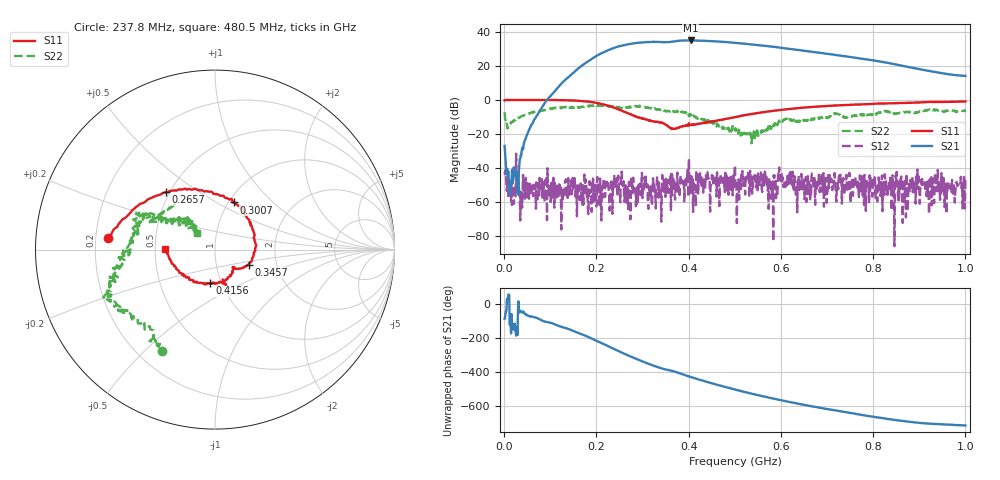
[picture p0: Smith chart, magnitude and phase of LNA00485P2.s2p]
! Created with skrf 1.9.0 (http://scikit-rf.org).
# Hz S RI R 50.0
!freq ReS11 ImS11 ReS21 ImS21 ReS12 ImS12 ReS22 ImS22
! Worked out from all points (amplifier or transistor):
!   1001 points, 1 MHz to 1 GHz, reference 50 ohm
!   highest |S21| = 35.0 dB at 404.6 MHz (marker M1)
!   |S21| within 3 dB of that: 255.7 MHz to 560.5 MHz (304.8 MHz wide, 74.7 % of centre)
!   unconditionally stable (mu >= 1): 222 MHz to 238.5 MHz; 247.9 MHz to 400.3 MHz; 401 MHz to end of sweep (the widest 3 of 44)
!   at 166.8 MHz: K = 0.89, MSG = 35.3 dB, |S12| = -50.8 dB
!   at 500.5 MHz: K = 1.09, MAG = 34.2 dB, |S12| = -38.4 dB
!   at 1 GHz: K = 3.25, MAG = 22.5 dB, |S12| = -46.9 dB
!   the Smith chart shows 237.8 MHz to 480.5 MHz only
!   S11 on the Smith chart (normalised r, x): 237.8 MHz: 0.25, +0.05; 265.7 MHz: 0.48, +0.37; 300.7 MHz: 1.06, +0.61; 345.7 MHz: 1.43, -0.25; 415.6 MHz: 0.88, -0.34; 480.5 MHz: 0.56, +0.01
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1000000  0.9769 0.00773  0.0026 -0.0445  -0.00769 -0.00069  0.313 0.3076
1.08892e8  0.531 -0.8446  -0.8313 -1.551  0.000469 -0.000485  0.4341 -0.3701
1.67833e8  -0.2189 -0.9041  -10.08 -0.5148  0.000934 -0.000168  0.0607 -0.6328
2.07793e8  -0.6487 -0.4339  -15.95 15.97  -0.00445 -0.0021  -0.1771 -0.6575
2.37763e8  -0.5959 0.0633  -3.635 33.83  -0.00219 0.000158  -0.2976 -0.5665
2.65735e8  -0.2739 0.3194  20.54 37.28  0.000554 -0.000778  -0.4588 -0.3971
3.007e8  0.1066 0.2624  46.06 18.05  -0.00211 0.00169  -0.5823 -0.1978
3.18682e8  0.2034 0.1338  51.22 2.572  -0.00232 0.000444  -0.5644 -0.1344
3.34666e8  0.2241 -0.00173  49.93 -11.4  -0.000496 0.00123  -0.5248 -0.0482
3.45655e8  0.1868 -0.0838  46.66 -18.81  0.000517 0.00486  -0.4994 -0.0103
3.75625e8  0.1039 -0.1104  39.88 -37.61  -0.00265 0.00679  -0.4562 0.1676
4.04596e8  0.0232 -0.1833  19.78 -52.83  -0.000425 0.00359  -0.335 0.1719
4.15585e8  -0.0302 -0.1881  11.19 -54.94  0.00073 -5.47e-05  -0.2717 0.1731
4.45555e8  -0.1707 -0.1411  -11.82 -52.74  0.00466 -0.000741  -0.1666 0.1733
4.8052e8  -0.2783 0.006  -31.79 -39.64  0.00331 0.00135  -0.1008 0.0946
5.005e8  -0.2846 0.1237  -38.66 -28.82  0.00874 -0.00833  -0.1218 0.0388
5.4046e8  -0.2238 0.3243  -41.91 -7.52  0.00513 -0.000855  -0.1011 -0.0223
5.85415e8  -0.0497 0.4806  -34.77 11.14  0.00476 -0.00151  -0.1498 -0.0889
6.67333e8  0.3354 0.5247  -12.16 23.02  0.00136 -0.00676  -0.2661 -0.0586
7.53247e8  0.628 0.3604  3.919 17.74  -0.00096 -0.00269  -0.3258 0.0267
8.34166e8  0.7822 0.136  8.913 8.252  -0.00328 0.00163  -0.4354 0.0791
1e9  0.8118 -0.3971  5.084 0.4761  -0.00395 -0.00224  -0.2393 0.4277
